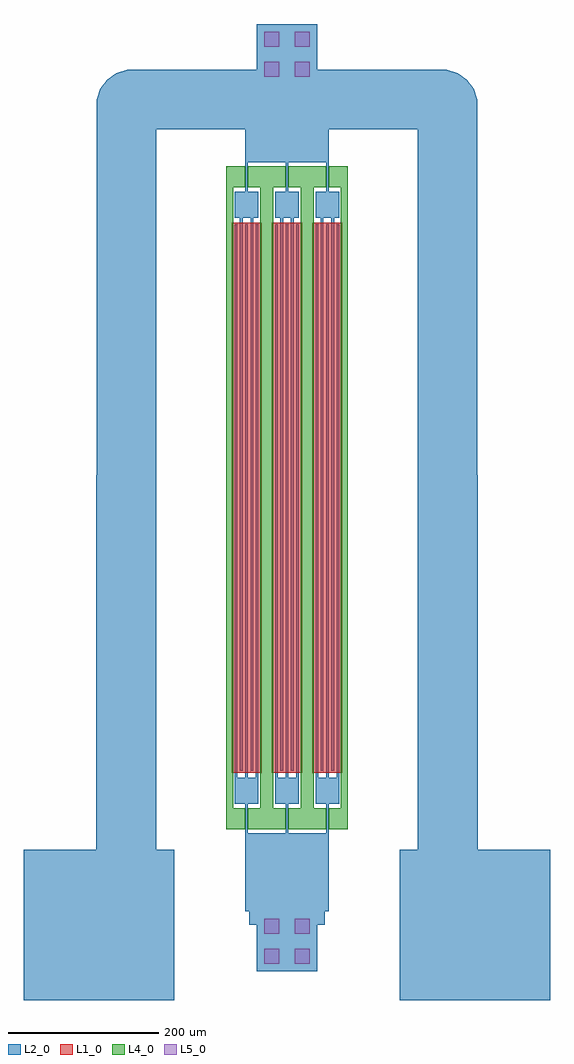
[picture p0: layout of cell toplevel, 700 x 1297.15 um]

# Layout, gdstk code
import gdstk
lib = gdstk.Library(unit=1e-6, precision=1e-09)
def R(c, l, rs):  # rectangles x0, y0, x1, y1
    for r in rs: c.add(gdstk.rectangle(r[:2], r[2:], *l))
def A(c, l, x, y, w, h, nx, ny, dx, dy):  # array of equal rectangles
    R(c, l, [(x+i*dx, y+j*dy, x+i*dx+w, y+j*dy+h) for i in range(nx) for j in range(ny)])
def P(c, l, *ps):  # polygons
    for p in ps: c.add(gdstk.Polygon(p, *l))
L1_0 = (1, 0)
L2_0 = (2, 0)
L4_0 = (4, 0)
L5_0 = (5, 0)

def_ = lib.new_cell('DEF')
R(def_, L1_0, [(-4.25,6.562,35.75,737.187), (49.5,6.562,89.5,737.187), (103.251,6.562,143.251,737.187)])
A(def_, L2_0, 0, 0, 3.5, 735, 3, 1, 14, 0)
A(def_, L2_0, 53.75, 0, 3.5, 735, 3, 1, 14, 0)
A(def_, L2_0, 107.501, 0, 3.5, 735, 3, 1, 14, 0)
R(def_, L2_0, [(29.5,-257.7,109.5,-177.7), (14.31,-177.7,124.691,-77.7), (14.31,-77.7,124.691,-74.2), (14.31,-74.2,17.19,-35), (68.06,-74.2,70.94,-35), (121.811,-74.2,124.691,-35), (0,-35,31.5,0), (53.75,-35,85.25,0), (107.501,-35,139.001,0), (7,8.75,10.5,743.75), (21,8.75,24.5,743.75), (60.75,8.75,64.25,743.75), (74.75,8.75,78.25,743.75), (114.501,8.75,118.001,743.75), (128.501,8.75,132.001,743.75), (0,743.75,31.5,778.75), (53.75,743.75,85.25,778.75), (107.501,743.75,139.001,778.75), (14.31,778.75,17.19,817.95), (68.06,778.75,70.94,817.95), (121.811,778.75,124.691,817.95), (14.31,817.95,124.691,821.45), (14.31,821.45,124.691,921.45), (29.5,921.45,109.5,1001.45)])
R(def_, L4_0, [(-11.125,-68.6,13.95,-40.6), (17.55,-68.6,42.625,-40.6), (42.625,-68.6,67.7,-40.6), (71.3,-68.6,96.376,-40.6), (96.376,-68.6,121.451,-40.6), (125.051,-68.6,150.126,-40.6), (-11.125,-40.6,-2.25,784.35), (33.75,-40.6,42.625,784.35), (42.625,-40.6,51.5,784.35), (87.5,-40.6,96.376,784.35), (96.376,-40.6,105.251,784.35), (141.251,-40.6,150.126,784.35), (-11.125,784.35,13.95,812.35), (17.55,784.35,42.625,812.35), (42.625,784.35,67.7,812.35), (71.3,784.35,96.376,812.35), (96.376,784.35,121.451,812.35), (125.051,784.35,150.126,812.35)])
R(def_, L5_0, [(39.5,-247.7,59.5,-227.7), (79.5,-247.7,99.5,-227.7), (39.5,-207.7,59.5,-187.7), (79.5,-207.7,99.5,-187.7), (39.5,931.45,59.5,951.45), (79.5,931.45,99.5,951.45), (39.5,971.45,59.5,991.45), (79.5,971.45,99.5,991.45)])

unnamed = lib.new_cell('Unnamed')
P(unnamed, L2_0, [(-104.455,-95.7),(-104.455,861.447),(29.499,861.447),(29.5,821.45),(109.5,821.45),(109.502,861.447),(243.456,861.447),(243.456,-95.7),(219.5,-95.7),(219.5,-295.7),(419.5,-295.7),(419.5,-95.7),(323.129,-95.7),(322.541,900.987),(317.641,915.473),(308.539,927.682),(296.307,936.224),(281.489,940.78),(80.869,941.448),(69.5,940.025),(58.132,941.448),(-142.488,940.78),(-157.306,936.224),(-169.539,927.682),(-178.64,915.473),(-183.54,900.987),(-184.128,-95.7),(-280.5,-95.7),(-280.5,-295.7),(-80.5,-295.7),(-80.5,-95.7)],
  [(19.5,-195.7),(119.5,-195.7),(119.5,-95.7),(70.94,-95.7),(70.94,-77.7),(68.06,-77.7),(68.06,-95.7),(19.5,-95.7)])

toplevel = lib.new_cell('toplevel')
toplevel.add(gdstk.Reference(def_, (0,0)))
toplevel.add(gdstk.Reference(unnamed, (0,0)))

lib.write_gds('toplevel.gds')
